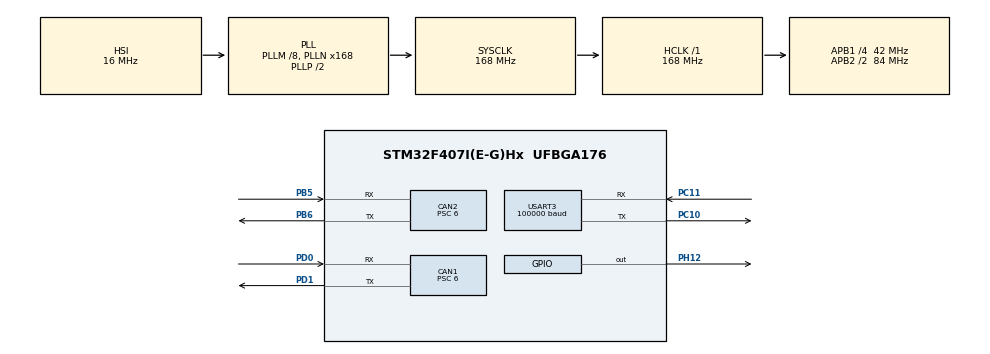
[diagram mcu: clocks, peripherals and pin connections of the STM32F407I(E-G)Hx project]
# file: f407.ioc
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CAN1.ABOM=ENABLE
CAN1.BS1=CAN_BS1_5TQ
CAN1.CalculateBaudRate=1000000
CAN1.CalculateTimeBit=1000
CAN1.CalculateTimeQuantum=142.85714285714286
CAN1.Prescaler=6
CAN2.BS1=CAN_BS1_5TQ
CAN2.CalculateBaudRate=1000000
CAN2.CalculateTimeBit=1000
CAN2.CalculateTimeQuantum=142.85714285714286
CAN2.Prescaler=6
Dma.Request0=USART3_RX
Dma.USART3_RX.0.Direction=DMA_PERIPH_TO_MEMORY
Dma.USART3_RX.0.FIFOMode=DMA_FIFOMODE_DISABLE
Dma.USART3_RX.0.Instance=DMA1_Stream1
Dma.USART3_RX.0.MemDataAlignment=DMA_MDATAALIGN_BYTE
Dma.USART3_RX.0.MemInc=DMA_MINC_ENABLE
Dma.USART3_RX.0.Mode=DMA_NORMAL
Dma.USART3_RX.0.PeriphDataAlignment=DMA_PDATAALIGN_BYTE
Dma.USART3_RX.0.PeriphInc=DMA_PINC_DISABLE
Dma.USART3_RX.0.Priority=DMA_PRIORITY_LOW
Mcu.Family=STM32F4
Mcu.Name=STM32F407I(E-G)Hx
Mcu.Package=UFBGA176
NVIC.CAN1_RX0_IRQn=true\:0\:0\:false\:false\:true\:true\:true\:true
NVIC.CAN2_RX1_IRQn=true\:0\:0\:false\:false\:true\:true\:true\:true
NVIC.DMA1_Stream1_IRQn=true\:0\:0\:false\:false\:true\:false\:true\:true
NVIC.PriorityGroup=NVIC_PRIORITYGROUP_4
NVIC.TIM2_IRQn=true\:0\:0\:false\:false\:true\:true\:true\:true
NVIC.USART3_IRQn=true\:0\:0\:false\:false\:true\:true\:true\:true
PA13.Mode=Serial_Wire
PA13.Signal=SYS_JTMS-SWDIO
PA14.Mode=Serial_Wire
PA14.Signal=SYS_JTCK-SWCLK
PB5.Mode=CAN_Activate
PB5.Signal=CAN2_RX
PB6.Mode=CAN_Activate
PB6.Signal=CAN2_TX
PC10.Mode=Asynchronous
PC10.Signal=USART3_TX
PC11.Mode=Asynchronous
PC11.Signal=USART3_RX
PD0.Mode=CAN_Activate
PD0.Signal=CAN1_RX
PD1.Mode=CAN_Activate
PD1.Signal=CAN1_TX
PH0-OSC_IN.Mode=HSE-External-Oscillator
PH0-OSC_IN.Signal=RCC_OSC_IN
PH1-OSC_OUT.Mode=HSE-External-Oscillator
PH1-OSC_OUT.Signal=RCC_OSC_OUT
PH12.Signal=GPIO_Output
ProjectManager.HeapSize=0x200
ProjectManager.StackSize=0x400
ProjectManager.TargetToolchain=MDK-ARM V5.32
RCC.48MHZClocksFreq_Value=84000000
RCC.AHBFreq_Value=168000000
RCC.APB1CLKDivider=RCC_HCLK_DIV4
RCC.APB1Freq_Value=42000000
RCC.APB1TimFreq_Value=84000000
RCC.APB2CLKDivider=RCC_HCLK_DIV2
RCC.APB2Freq_Value=84000000
RCC.APB2TimFreq_Value=168000000
RCC.CortexFreq_Value=168000000
RCC.HCLKFreq_Value=168000000
RCC.HSE_VALUE=12000000
RCC.HSI_VALUE=16000000
RCC.LSE_VALUE=32768
RCC.PLLM=8
RCC.PLLN=168
RCC.SYSCLKFreq_VALUE=168000000
RCC.SYSCLKSource=RCC_SYSCLKSOURCE_PLLCLK
RCC.VCOOutputFreq_Value=336000000
TIM2.AutoReloadPreload=TIM_AUTORELOAD_PRELOAD_ENABLE
TIM2.Period=99
TIM2.Prescaler=16799
USART3.BaudRate=100000
USART3.Parity=PARITY_EVEN
USART3.VirtualMode=VM_ASYNC
USART3.WordLength=WORDLENGTH_9B
VP_TIM2_VS_ClockSourceINT.Mode=Internal
board=custom

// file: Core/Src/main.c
/* USER CODE BEGIN Header */
/**
  ******************************************************************************
  * @file           : main.c
  * @brief          : Main program body
  ******************************************************************************
  * @attention
  *
  * Copyright (c) 2024 STMicroelectronics.
  * All rights reserved.
  *
  * This software is licensed under terms that can be found in the LICENSE file
  * in the root directory of this software component.
  * If no LICENSE file comes with this software, it is provided AS-IS.
  *
  ******************************************************************************
  */
/* USER CODE END Header */
#include "main.h"
#include "can.h"
#include "dma.h"
#include "tim.h"
#include "usart.h"
#include "gpio.h"

/* USER CODE BEGIN Includes */
#include "can_user.h"
#include "dipan_control.h"
#include "pid.h"
#include "yaokong.h"
#include "damiao.h"

/* USER CODE END Includes */

/* USER CODE BEGIN PD */

uint8_t sbus_rx_buffer[18];//声明遥控器接收缓存数组
uint16_t TIM4_Cnt1;

motor_recieve motor_recieve_yuntai3508[4];
motor_recieve motor_receive_bodan3508;
motor_recieve motor_receive_yaw6020;

damiao_recieve damiao_recieve_pitch;

RC_Ctl_t RC_Ctl;
int8_t yaokongjishi=10;

extern PID pid_dipan3508[4];

extern int16_t dipan_speedtarget[4];
extern float yuntai_locationtarget[2];

int16_t fashe_speed[4];
int16_t bodan_speed;
/* USER CODE END PD */

void SystemClock_Config(void);

int main(void)
{

  /* MCU Configuration--------------------------------------------------------*/

  /* Reset of all peripherals, Initializes the Flash interface and the Systick. */
  HAL_Init();

  /* Configure the system clock */
  SystemClock_Config();

  /* Initialize all configured peripherals */
  MX_GPIO_Init();
  MX_DMA_Init();
  MX_CAN2_Init();
  MX_USART3_UART_Init();
  MX_CAN1_Init();
  MX_TIM2_Init();
  /* USER CODE BEGIN 2 */
	HAL_TIM_Base_Start_IT(&htim2);
	HAL_CAN_Start(&hcan1);
	can_filter_init();
	HAL_CAN_Start(&hcan2);
	can_filter2_init();
	HAL_UARTEx_ReceiveToIdle_DMA(&huart3,sbus_rx_buffer,18);
	__HAL_DMA_DISABLE_IT(huart3.hdmarx ,DMA_IT_HT );  //防止接收到一半就停止，跟上一句一定要配套写
	int16_t target[4]={-2000,2000,2000,5000};

  /* USER CODE END 2 */

  /* Infinite loop */
  while (1)
  {

    /* USER CODE BEGIN 3 */
		dipan_speed_jiesuan(RC_Ctl);
		yaokong_send_MSG(RC_Ctl);
		HAL_Delay(2);
		yaokong_send_MSG2(RC_Ctl);
		HAL_Delay(1);

/////////////////////////

		if(RC_Ctl.rc.s2==1)
		{
					//	CAN_cmd_speed_yaw6020(RC_Ctl.rc.ch0-1024,motor_receive_yaw6020);
			CAN_cma_angle_yaw6020(yuntai_locationtarget[0],motor_receive_yaw6020);
			HAL_Delay(1);
		}

		if(RC_Ctl.rc.s2==3)
		{
			//CAN_cmd_speed_yaw6020(RC_Ctl.rc.ch0-1024,motor_receive_yaw6020);
			CAN_cma_angle_yaw6020(yuntai_locationtarget[0],motor_receive_yaw6020);
			HAL_Delay(1);
		}

		if(RC_Ctl.rc.s2==2)
		{
			yuntai_locationtarget[0]=motor_receive_yaw6020.angle;
			HAL_Delay(1);
		}

////////////////////////

		if(RC_Ctl.rc.s1==3)
		{
					CAN_cmd_current_bodan3508(0);
					//CAN_cmd_speed_3508motor(fashe_speed,motor_recieve_yuntai3508);
			CAN_cmd_speed_3508motor(target,motor_recieve_yuntai3508);
		}
		if(RC_Ctl.rc.s1==1)
		{
					CAN_cmd_speed_bodan(bodan_speed,motor_receive_bodan3508);
				//	CAN_cmd_speed_3508motor(fashe_speed,motor_recieve_yuntai3508);
			CAN_cmd_speed_3508motor(target,motor_recieve_yuntai3508);
		}
		if(RC_Ctl.rc.s1==2)
		{
					CAN_cmd_current_bodan3508(0);
					CAN_cmd_current_3508motor(0,0,0,0);
		}
		//CAN_cmd_current_3508motor(5000,0,0,0);

		ctrl_damiao_motor(0x01,yuntai_locationtarget[1],0,10,0.3,0);

/////////////////////////

		HAL_Delay(2);
  }
  /* USER CODE END 3 */
}

void SystemClock_Config(void)
{
  RCC_OscInitTypeDef RCC_OscInitStruct = {0};
  RCC_ClkInitTypeDef RCC_ClkInitStruct = {0};

  /** Configure the main internal regulator output voltage
  */
  __HAL_RCC_PWR_CLK_ENABLE();
  __HAL_PWR_VOLTAGESCALING_CONFIG(PWR_REGULATOR_VOLTAGE_SCALE1);

  /** Initializes the RCC Oscillators according to the specified parameters
  * in the RCC_OscInitTypeDef structure.
  */
  RCC_OscInitStruct.OscillatorType = RCC_OSCILLATORTYPE_HSI;
  RCC_OscInitStruct.HSIState = RCC_HSI_ON;
  RCC_OscInitStruct.HSICalibrationValue = RCC_HSICALIBRATION_DEFAULT;
  RCC_OscInitStruct.PLL.PLLState = RCC_PLL_ON;
  RCC_OscInitStruct.PLL.PLLSource = RCC_PLLSOURCE_HSI;
  RCC_OscInitStruct.PLL.PLLM = 8;
  RCC_OscInitStruct.PLL.PLLN = 168;
  RCC_OscInitStruct.PLL.PLLP = RCC_PLLP_DIV2;
  RCC_OscInitStruct.PLL.PLLQ = 4;
  if (HAL_RCC_OscConfig(&RCC_OscInitStruct) != HAL_OK)
  {
    Error_Handler();
  }

  /** Initializes the CPU, AHB and APB buses clocks
  */
  RCC_ClkInitStruct.ClockType = RCC_CLOCKTYPE_HCLK|RCC_CLOCKTYPE_SYSCLK
                              |RCC_CLOCKTYPE_PCLK1|RCC_CLOCKTYPE_PCLK2;
  RCC_ClkInitStruct.SYSCLKSource = RCC_SYSCLKSOURCE_PLLCLK;
  RCC_ClkInitStruct.AHBCLKDivider = RCC_SYSCLK_DIV1;
  RCC_ClkInitStruct.APB1CLKDivider = RCC_HCLK_DIV4;
  RCC_ClkInitStruct.APB2CLKDivider = RCC_HCLK_DIV2;

  if (HAL_RCC_ClockConfig(&RCC_ClkInitStruct, FLASH_LATENCY_5) != HAL_OK)
  {
    Error_Handler();
  }
}

void Error_Handler(void)
{
  __disable_irq();
  while (1)
  {
  }
}
